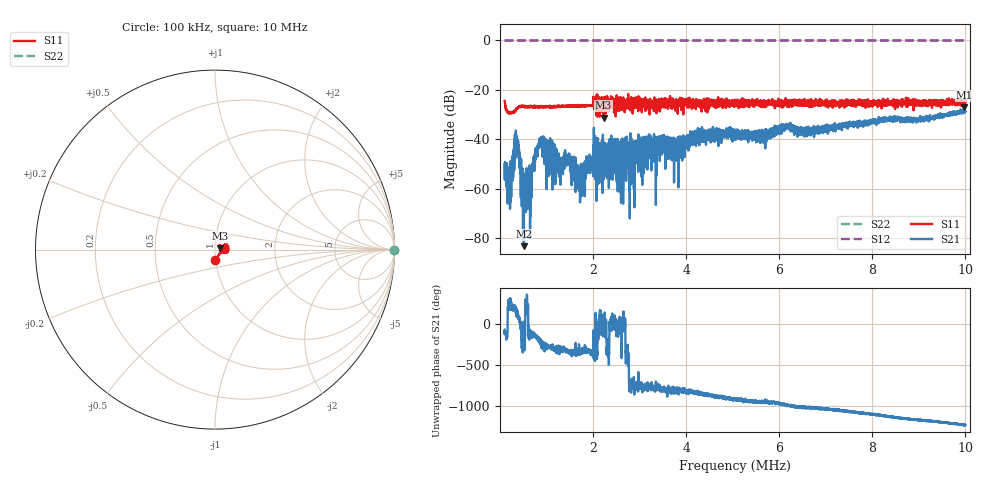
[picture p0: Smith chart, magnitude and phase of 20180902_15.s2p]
! Anritsu VNA Master:  Model: MS2026C/19
! SN:  1815009
! /card0/usr/20180902_15.s2p
! Existing Calibration Information:
! TYPE:  Current Settings,  Active Cal Settings
! TIME:  09/02/2018 12:49:23 PM,  09/02/2018 11:58:48 AM
! INTERNAL TEMP:  53.8 C,  48.8 C
! # POINTS:  4001,  4001
! START FREQ:  100.000 kHz,  100.000 kHz
! STOP FREQ:  10.000 MHz,  10.000 MHz
! SOURCE POWER:  Low,  Low
! IFBW:  500 Hz,  500 Hz
! AVG FACTOR:  1 ,  1
! REF PLANE 1:  0 mm,  0 mm
! REF PLANE 2:  0 mm,  0 mm
! CAL TYPE:  1P2P S11,S21,  1P2P S11,S21
! CAL METHOD:  SOLT,  SOLT
! CAL LINE TYPE:  Coax,  Coax
! DUT PORT 1:  N-Conn(M),  N-Conn(M)
! DUT PORT 2:  N-Conn(M),  N-Conn(M)
! CAL STATUS:  ?T: Accuracy moderate (|Temp diff| > 5.0 C),  --
# GHZ S RI R 50.0
! FREQ.GHZ  S11RE  S11IM  S21RE  S21IM  S12RE  S12IM  S22RE  S22IM
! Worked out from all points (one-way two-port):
!   4001 points, 100 kHz to 10 MHz, reference 50 ohm
!   highest |S21| = -26.99 dB at 9.973 MHz (marker M1); lowest = -83.2 dB at 513.3 kHz (marker M2)
!   lowest |S11| = -31.2 dB at 2.226 MHz (marker M3), VSWR 1.06, Z = 52.6 + j1.01 ohm
!   |S11| at or under -10 dB: start of sweep to end of sweep
!   |S22| runs from 0.0 to 0.0 dB; largest |S21 - S12| = 1
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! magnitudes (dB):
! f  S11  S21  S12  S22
! 100 kHz  -24.4  -50.1  0.0  0.0
! 213.8 kHz  -29.2  -50.8  0.0  0.0
! 369.8 kHz  -27.5  -42.7  0.0  0.0
! 466.3 kHz  -26.6  -58.9  0.0  0.0
! 513.3 kHz  -26.5  -83.2  0.0  0.0
! 604.9 kHz  -26.8  -54.1  0.0  0.0
! 795.5 kHz  -26.7  -44.1  0.0  0.0
! 884.6 kHz  -26.6  -41.9  0.0  0.0
! 1.293 MHz  -26.9  -49.3  0.0  0.0
! 1.449 MHz  -26.4  -49.4  0.0  0.0
! 1.751 MHz  -26.4  -50.4  0.0  0.0
! 1.996 MHz  -26.2  -49.6  0.0  0.0
! 2.226 MHz  -31.2  -56.2  0.0  0.0
! 3.402 MHz  -25.2  -40.8  0.0  0.0
! 3.788 MHz  -23.7  -48.6  0.0  0.0
! 4.253 MHz  -25.5  -35.4  0.0  0.0
! 5.05 MHz  -25.3  -38.0  0.0  0.0
! 6.179 MHz  -26.0  -35.2  0.0  0.0
! 6.701 MHz  -26.3  -36.7  0.0  0.0
! 8.352 MHz  -25.4  -32.0  0.0  0.0
! 9.973 MHz  -26.4  -27.0  0.0  0.0
! 10 MHz  -24.7  -28.6  0.0  0.0
